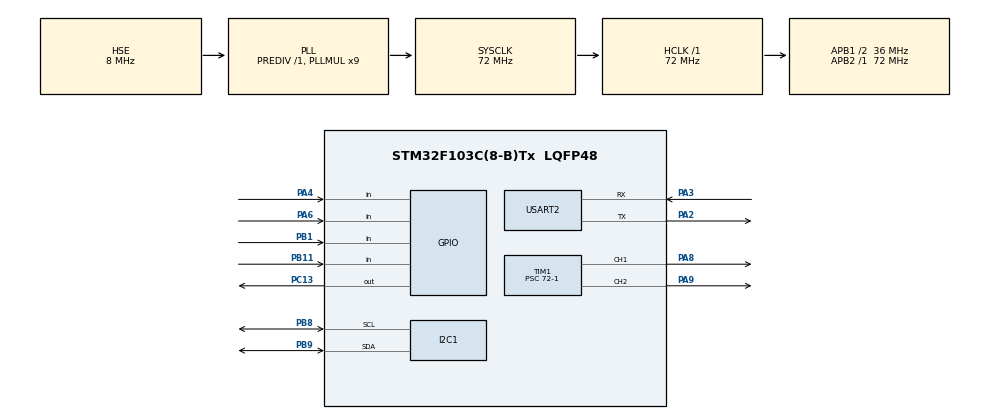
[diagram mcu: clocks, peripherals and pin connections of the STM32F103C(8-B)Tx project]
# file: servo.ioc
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Mcu.Family=STM32F1
Mcu.Name=STM32F103C(8-B)Tx
Mcu.Package=LQFP48
NVIC.PriorityGroup=NVIC_PRIORITYGROUP_4
NVIC.USART2_IRQn=true\:0\:0\:false\:false\:true\:true\:true\:true
PA13.Mode=Serial_Wire
PA13.Signal=SYS_JTMS-SWDIO
PA14.Mode=Serial_Wire
PA14.Signal=SYS_JTCK-SWCLK
PA2.Mode=Asynchronous
PA2.Signal=USART2_TX
PA3.Mode=Asynchronous
PA3.Signal=USART2_RX
PA4.GPIO_PuPd=GPIO_PULLUP
PA4.Signal=GPIO_Input
PA6.GPIO_PuPd=GPIO_PULLUP
PA6.Signal=GPIO_Input
PA8.Signal=S_TIM1_CH1
PA9.Signal=S_TIM1_CH2
PB1.GPIO_PuPd=GPIO_PULLUP
PB1.Signal=GPIO_Input
PB11.GPIO_PuPd=GPIO_PULLUP
PB11.Signal=GPIO_Input
PB8.Mode=I2C
PB8.Signal=I2C1_SCL
PB9.Mode=I2C
PB9.Signal=I2C1_SDA
PC13-TAMPER-RTC.Signal=GPIO_Output
PC14-OSC32_IN.Mode=LSE-External-Oscillator
PC14-OSC32_IN.Signal=RCC_OSC32_IN
PC15-OSC32_OUT.Mode=LSE-External-Oscillator
PC15-OSC32_OUT.Signal=RCC_OSC32_OUT
PD0-OSC_IN.Mode=HSE-External-Oscillator
PD0-OSC_IN.Signal=RCC_OSC_IN
PD1-OSC_OUT.Mode=HSE-External-Oscillator
PD1-OSC_OUT.Signal=RCC_OSC_OUT
ProjectManager.HeapSize=0x200
ProjectManager.StackSize=0x400
ProjectManager.TargetToolchain=MDK-ARM V5.32
RCC.AHBFreq_Value=72000000
RCC.APB1CLKDivider=RCC_HCLK_DIV2
RCC.APB1Freq_Value=36000000
RCC.APB1TimFreq_Value=72000000
RCC.APB2Freq_Value=72000000
RCC.APB2TimFreq_Value=72000000
RCC.HCLKFreq_Value=72000000
RCC.PLLMUL=RCC_PLL_MUL9
RCC.PLLSourceVirtual=RCC_PLLSOURCE_HSE
RCC.SYSCLKFreq_VALUE=72000000
RCC.SYSCLKSource=RCC_SYSCLKSOURCE_PLLCLK
RCC.USBFreq_Value=72000000
SH.S_TIM1_CH1.0=TIM1_CH1,PWM Generation1 CH1
SH.S_TIM1_CH2.0=TIM1_CH2,PWM Generation2 CH2
TIM1.Channel-PWM\ Generation1\ CH1=TIM_CHANNEL_1
TIM1.Channel-PWM\ Generation2\ CH2=TIM_CHANNEL_2
TIM1.Period=20000-1
TIM1.Prescaler=72-1
TIM1.Pulse-PWM\ Generation1\ CH1=1500
TIM1.Pulse-PWM\ Generation2\ CH2=1000
USART2.VirtualMode=VM_ASYNC
board=custom

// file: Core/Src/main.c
/* USER CODE BEGIN Header */
/**
  ******************************************************************************
  * @file           : main.c
  * @brief          : Main program body
  ******************************************************************************
  * @attention
  *
  * Copyright (c) 2026 STMicroelectronics.
  * All rights reserved.
  *
  * This software is licensed under terms that can be found in the LICENSE file
  * in the root directory of this software component.
  * If no LICENSE file comes with this software, it is provided AS-IS.
  *
  ******************************************************************************
  */
/* USER CODE END Header */
#include "main.h"
#include "i2c.h"
#include "tim.h"
#include "usart.h"
#include "gpio.h"

/* USER CODE BEGIN Includes */
#include "servo.h"
#include "key.h"
#include "oled.h"
#include "serial.h"
#include "face_tracker.h"
#include "tracking_config.h"
#include <string.h>
/* USER CODE END Includes */

/* USER CODE BEGIN PV */
static FaceTracker tracker;
/* USER CODE END PV */

void SystemClock_Config(void);

/* USER CODE BEGIN 0 */
#if TRACK_OLED_ENABLE
static char display_cache[64];
static uint8_t display_cursor;
static void DisplayNumber(char *out, uint16_t value, uint8_t count)
{
  while (count != 0U) {
    --count; out[count] = (char)('0' + value % 10U); value /= 10U;
  }
}
static void DisplayInit(void)
{
  OLED_Init();
  OLED_Clear();
  OLED_ShowString(0, 0, "Face:HOME       ", 16, 0);
  OLED_ShowString(0, 2, "Pan: 090 deg    ", 16, 0);
  OLED_ShowString(0, 4, "Tilt:045 deg    ", 16, 0);
  OLED_ShowString(0, 6, "X:---- Y:----   ", 16, 0);
  memset(display_cache, 0, sizeof(display_cache));
}
/* At most one changed character per control period: bounded I2C latency. */
static void DisplayTask(void)
{
  char lines[4][17] = {"Face:HOME       ", "Pan: 090 deg    ",
                        "Tilt:045 deg    ", "X:---- Y:----   "};
  uint8_t i, row, col;
  if (!OLED_IsReady()) return;
  if (tracker.state == TRACK_ACTIVE) memcpy(lines[0] + 5, "FACE", 4);
  else if (tracker.state == TRACK_HOLD) memcpy(lines[0] + 5, "HOLD", 4);
  DisplayNumber(lines[1] + 5, (uint16_t)(tracker.pan.angle + 0.5f), 3);
  DisplayNumber(lines[2] + 5, (uint16_t)(tracker.tilt.angle + 0.5f), 3);
  if (tracker.state == TRACK_ACTIVE) {
    DisplayNumber(lines[3] + 2, tracker.face.x, 4);
    DisplayNumber(lines[3] + 9, tracker.face.y, 4);
  }
  for (i = 0U; i < 64U; ++i) {
    row = display_cursor / 16U; col = display_cursor % 16U;
    if (display_cache[display_cursor] != lines[row][col]) {
      display_cache[display_cursor] = lines[row][col];
      OLED_ShowChar(col * 8U, row * 2U, (uint8_t)lines[row][col], 16, 0);
      display_cursor = (display_cursor + 1U) % 64U;
      return;
    }
    display_cursor = (display_cursor + 1U) % 64U;
  }
}
#endif
/* USER CODE END 0 */

int main(void)
{

  /* MCU Configuration--------------------------------------------------------*/

  /* Reset of all peripherals, Initializes the Flash interface and the Systick. */
  HAL_Init();

  /* Configure the system clock */
  SystemClock_Config();

  /* Initialize all configured peripherals */
  MX_GPIO_Init();
  MX_I2C1_Init();
  MX_TIM1_Init();
  MX_USART2_UART_Init();
  /* USER CODE BEGIN 2 */
  Key_Init();
  Servo_InitAll();
  FaceTracker_Init(&tracker, HAL_GetTick());
#if TRACK_OLED_ENABLE
  DisplayInit();
#endif
  /* Flush bytes/errors accumulated during startup, then arm UART reception. */
  Serial_Init();
  /* USER CODE END 2 */

  /* Infinite loop */
  /* USER CODE BEGIN WHILE */
  while (1)
  {
    uint32_t now;
    FaceFrame frame;
    Serial_Poll();
    now = HAL_GetTick();
    if ((uint32_t)(now - tracker.last_step_ms) >= TRACK_PERIOD_MS)
    {
      Key_Scan();
      if (Serial_GetLatest(&frame) &&
          (uint32_t)(now - frame.received_ms) <= TRACK_TIMEOUT_MS)
        FaceTracker_OnFrame(&tracker, &frame);
      if (FaceTracker_Update(&tracker, now))
      {
        Servo_SetAngle(&servo1, tracker.pan.angle);
        Servo_SetAngle(&servo2, tracker.tilt.angle);
        HAL_GPIO_WritePin(GPIOC, GPIO_PIN_13,
            tracker.state == TRACK_ACTIVE ? GPIO_PIN_RESET : GPIO_PIN_SET);
#if TRACK_OLED_ENABLE
        DisplayTask();
#endif
      }
    }
    HAL_Delay(1);
    /* USER CODE END WHILE */

  }
}

void SystemClock_Config(void)
{
  RCC_OscInitTypeDef RCC_OscInitStruct = {0};
  RCC_ClkInitTypeDef RCC_ClkInitStruct = {0};

  /** Initializes the RCC Oscillators according to the specified parameters
  * in the RCC_OscInitTypeDef structure.
  */
  RCC_OscInitStruct.OscillatorType = RCC_OSCILLATORTYPE_HSE;
  RCC_OscInitStruct.HSEState = RCC_HSE_ON;
  RCC_OscInitStruct.HSEPredivValue = RCC_HSE_PREDIV_DIV1;
  RCC_OscInitStruct.HSIState = RCC_HSI_ON;
  RCC_OscInitStruct.PLL.PLLState = RCC_PLL_ON;
  RCC_OscInitStruct.PLL.PLLSource = RCC_PLLSOURCE_HSE;
  RCC_OscInitStruct.PLL.PLLMUL = RCC_PLL_MUL9;
  if (HAL_RCC_OscConfig(&RCC_OscInitStruct) != HAL_OK)
  {
    Error_Handler();
  }

  /** Initializes the CPU, AHB and APB buses clocks
  */
  RCC_ClkInitStruct.ClockType = RCC_CLOCKTYPE_HCLK|RCC_CLOCKTYPE_SYSCLK
                              |RCC_CLOCKTYPE_PCLK1|RCC_CLOCKTYPE_PCLK2;
  RCC_ClkInitStruct.SYSCLKSource = RCC_SYSCLKSOURCE_PLLCLK;
  RCC_ClkInitStruct.AHBCLKDivider = RCC_SYSCLK_DIV1;
  RCC_ClkInitStruct.APB1CLKDivider = RCC_HCLK_DIV2;
  RCC_ClkInitStruct.APB2CLKDivider = RCC_HCLK_DIV1;

  if (HAL_RCC_ClockConfig(&RCC_ClkInitStruct, FLASH_LATENCY_2) != HAL_OK)
  {
    Error_Handler();
  }
}

void Error_Handler(void)
{
  __disable_irq();
  while (1)
  {
  }
}
